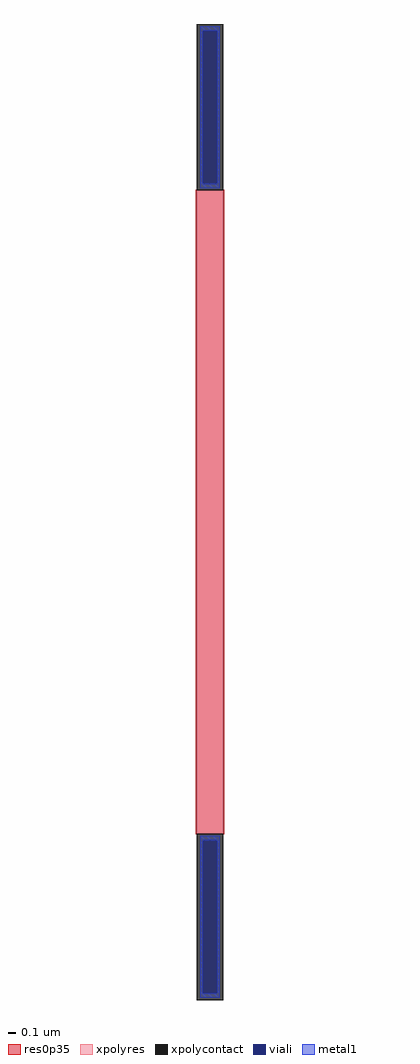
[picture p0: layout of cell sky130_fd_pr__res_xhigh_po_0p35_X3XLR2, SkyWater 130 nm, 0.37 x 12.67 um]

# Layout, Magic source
magic
tech sky130A
magscale 1 2
<< xpolycontact >>
rect -35 835 35 1267
rect -35 -1267 35 -835
<< xpolyres >>
rect -35 -835 35 835
<< viali >>
rect -19 852 19 1249
rect -19 -1249 19 -852
<< metal1 >>
rect -25 1249 25 1261
rect -25 852 -19 1249
rect 19 852 25 1249
rect -25 840 25 852
rect -25 -852 25 -840
rect -25 -1249 -19 -852
rect 19 -1249 25 -852
rect -25 -1261 25 -1249
<< res0p35 >>
rect -37 -837 37 837
<< properties >>
string gencell sky130_fd_pr__res_xhigh_po_0p35
string parameters w 0.350 l 8.35 m 1 nx 1 wmin 0.350 lmin 0.50 rho 2000 val 48.4k dummy 0 dw 0.0 term 120 sterm 0.0 caplen 0 wmax 0.350 guard 0 glc 0 grc 0 gtc 0 gbc 0 compatible {sky130_fd_pr__res_xhigh_po_0p35  sky130_fd_pr__res_xhigh_po_0p69 sky130_fd_pr__res_xhigh_po_1p41  sky130_fd_pr__res_xhigh_po_2p85 sky130_fd_pr__res_xhigh_po_5p73} full_metal 0 vias 1 viagb 0 viagt 0 viagl 0 viagr 0
string library sky130
<< end >>
